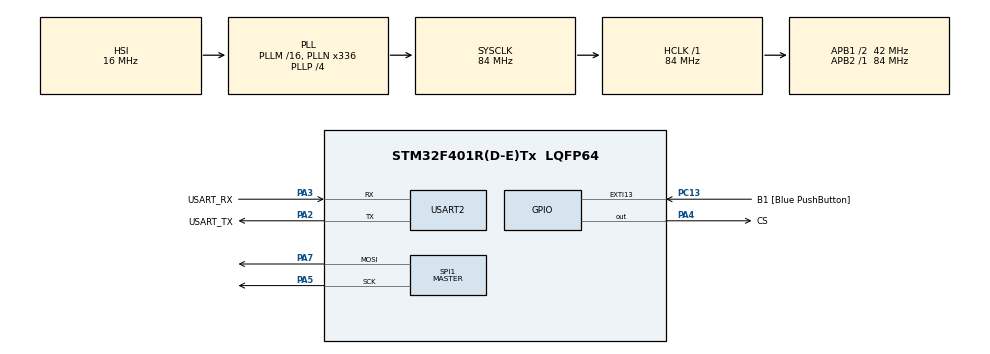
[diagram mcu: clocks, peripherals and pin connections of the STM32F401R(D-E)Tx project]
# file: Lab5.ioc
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Mcu.Family=STM32F4
Mcu.Name=STM32F401R(D-E)Tx
Mcu.Package=LQFP64
NVIC.PriorityGroup=NVIC_PRIORITYGROUP_4
PA13.GPIO_Label=TMS
PA13.Mode=Trace_Asynchronous_SW
PA13.Signal=SYS_JTMS-SWDIO
PA14.GPIO_Label=TCK
PA14.Mode=Trace_Asynchronous_SW
PA14.Signal=SYS_JTCK-SWCLK
PA2.GPIO_Label=USART_TX
PA2.GPIO_Mode=GPIO_MODE_AF_PP
PA2.GPIO_PuPd=GPIO_NOPULL
PA2.GPIO_Speed=GPIO_SPEED_FREQ_LOW
PA2.Mode=Asynchronous
PA2.Signal=USART2_TX
PA3.GPIO_Label=USART_RX
PA3.GPIO_Mode=GPIO_MODE_AF_PP
PA3.GPIO_PuPd=GPIO_NOPULL
PA3.GPIO_Speed=GPIO_SPEED_FREQ_LOW
PA3.Mode=Asynchronous
PA3.Signal=USART2_RX
PA4.GPIO_Label=CS
PA4.Signal=GPIO_Output
PA5.Mode=TX_Only_Simplex_Unidirect_Master
PA5.Signal=SPI1_SCK
PA7.Mode=TX_Only_Simplex_Unidirect_Master
PA7.Signal=SPI1_MOSI
PB3.GPIO_Label=SWO
PB3.Mode=Trace_Asynchronous_SW
PB3.Signal=SYS_JTDO-SWO
PC13-ANTI_TAMP.GPIO_Label=B1 [Blue PushButton]
PC13-ANTI_TAMP.GPIO_ModeDefaultEXTI=GPIO_MODE_IT_FALLING
PC13-ANTI_TAMP.GPIO_PuPd=GPIO_NOPULL
PC13-ANTI_TAMP.Signal=GPXTI13
PC14-OSC32_IN.Mode=LSE-External-Oscillator
PC14-OSC32_IN.Signal=RCC_OSC32_IN
PC15-OSC32_OUT.Mode=LSE-External-Oscillator
PC15-OSC32_OUT.Signal=RCC_OSC32_OUT
PH0\ -\ OSC_IN.Mode=HSE-External-Clock-Source
PH0\ -\ OSC_IN.Signal=RCC_OSC_IN
PH1\ -\ OSC_OUT.Mode=HSE-External-Clock-Source
PH1\ -\ OSC_OUT.Signal=RCC_OSC_OUT
ProjectManager.HeapSize=0x200
ProjectManager.StackSize=0x400
ProjectManager.TargetToolchain=STM32CubeIDE
RCC.48MHZClocksFreq_Value=48000000
RCC.AHBFreq_Value=84000000
RCC.APB1CLKDivider=RCC_HCLK_DIV2
RCC.APB1Freq_Value=42000000
RCC.APB1TimFreq_Value=84000000
RCC.APB2Freq_Value=84000000
RCC.APB2TimFreq_Value=84000000
RCC.CortexFreq_Value=84000000
RCC.HCLKFreq_Value=84000000
RCC.HSE_VALUE=8000000
RCC.HSI_VALUE=16000000
RCC.PLLN=336
RCC.PLLP=RCC_PLLP_DIV4
RCC.PLLQ=7
RCC.SYSCLKFreq_VALUE=84000000
RCC.SYSCLKSource=RCC_SYSCLKSOURCE_PLLCLK
RCC.VCOOutputFreq_Value=336000000
SPI1.CLKPolarity=SPI_POLARITY_HIGH
SPI1.DataSize=SPI_DATASIZE_16BIT
SPI1.Direction=SPI_DIRECTION_2LINES
SPI1.Mode=SPI_MODE_MASTER
SPI1.VirtualType=VM_MASTER
USART2.VirtualMode=VM_ASYNC
board=NUCLEO-F401RE

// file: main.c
/* USER CODE BEGIN Header */
/**
  ******************************************************************************
  * @file           : main.c
  * @brief          : Main program body
  ******************************************************************************
  * @attention
  *
  * Copyright (c) 2026 STMicroelectronics.
  * All rights reserved.
  *
  * This software is licensed under terms that can be found in the LICENSE file
  * in the root directory of this software component.
  * If no LICENSE file comes with this software, it is provided AS-IS.
  *
  ******************************************************************************
  */
/* USER CODE END Header */
#include "main.h"

/* USER CODE BEGIN PD */
#define NUM_DEV 4
uint8_t bufferCol[NUM_DEV*8];
/* USER CODE END PD */

SPI_HandleTypeDef hspi1;

UART_HandleTypeDef huart2;

/* USER CODE BEGIN PV */

const uint8_t charData[][8] = {
  		{0x00, 0x1c, 0x22, 0x22, 0x22, 0x22, 0x1c, 0x00},  // 0
  		{0x08, 0x0c, 0x08, 0x08, 0x08, 0x08, 0x3e, 0x00},  // 1
  		{0x1c, 0x22, 0x20, 0x18, 0x04, 0x02, 0x3e, 0x00},  // 2
  		{0x1c, 0x22, 0x20, 0x1c, 0x20, 0x22, 0x1c, 0x00},  // 3
  		{0x20, 0x30, 0x28, 0x24, 0x7c, 0x20, 0x20, 0x00},  // 4
  		{0x3e, 0x02, 0x1e, 0x20, 0x20, 0x20, 0x1e, 0x00},  // 5
  		{0x18, 0x04, 0x02, 0x1e, 0x22, 0x22, 0x1c, 0x00},  // 6
  		{0x3e, 0x20, 0x10, 0x08, 0x04, 0x04, 0x04, 0x00},  // 7
  		{0x1c, 0x22, 0x22, 0x1c, 0x22, 0x22, 0x1c, 0x00},  // 8
  		{0x1c, 0x22, 0x22, 0x3c, 0x20, 0x10, 0x0c, 0x00},  // 9
  };
void clearDisplay (void)
{
	for (int i=0; i<NUM_DEV*8-1; i++)
	{
		bufferCol[i] = 0;
	}
	flushBuffer();
}

const uint8_t data[] =
{
0x00, 0x22, 0x49, 0x49, 0x49, 0x49, 0x36, 0x00
};
/* U
/* USER CODE END PV */

void SystemClock_Config(void);
static void MX_GPIO_Init(void);
static void MX_USART2_UART_Init(void);
static void MX_SPI1_Init(void);

/* USER CODE BEGIN 0 */
void max7219_cmd (uint8_t Addr, uint8_t data)
{
	uint16_t writeData = (Addr<<8)|data;
	HAL_GPIO_WritePin(CS_GPIO_Port, CS_Pin, 0);  // enable slave
	for (int i=0; i<NUM_DEV; i++)
	{
		HAL_SPI_Transmit(&hspi, (uint8_t *)&writeData, 1, 100);
	}
	HAL_GPIO_WritePin(CS_GPIO_Port, CS_Pin, 1);  // disable slave
}

void max7219_write (uint8_t Addr, uint8_t data)
{
	uint16_t writeData = (Addr<<8)|data;
	HAL_GPIO_WritePin(CS_GPIO_Port, CS_Pin, 0);  // enable slave
	HAL_SPI_Transmit(&hspi, (uint8_t *)&writeData, 1, 100);
	HAL_GPIO_WritePin(CS_GPIO_Port, CS_Pin, 1);  // disable slave
}

void matrixInit (void)
{
	max7219_write(0x09, 0);  // no decoding
	max7219_write(0x0a, 0x01);  // 3/32 intensity
	max7219_write(0x0B, 0x07);  // scan all 7 columns
	max7219_write(0x0C, 0x01);  // normal operation
	max7219_write(0x0F, 0);     // No display test
}

void matrixData(int num)
{
	for (int i=1; i<=8; i++)
	{
		max7219_write(i, charData[num][8-i]);
	}

}

void max_write (int row, uint8_t data)
{
	int devTarget = (row - 1) / 8;  // find out which is the actual max, where we need to write the data
	int offset = devTarget * 8;  // The offset of the start byte for the devTarget in the buffer
	uint16_t writeData = 0;

	HAL_GPIO_WritePin(CS_GPIO_Port, CS_Pin, 0);  // Select the slave
			for (int dev = 0; dev < NUM_DEV; dev++)   // for loop for all the max connected
			{
				if (dev == devTarget)  // if this the target
				{
					writeData = ((row - offset)<<8)|data;  // send the column number and the data byte
					HAL_SPI_Transmit(&hspi, (uint8_t *)&writeData, 1, 1000);
				}
				else
				{
					writeData = 0;  // else send NOOP
					HAL_SPI_Transmit(&hspi, (uint8_t *)&writeData, 1, 1000);
				}
			}
			HAL_GPIO_WritePin(CS_GPIO_Port, CS_Pin, 1);  // disable the slave

}

void flushBuffer (void)
{
	uint8_t bufferRow[NUM_DEV*8] = {0};  // buffer to store data column wise

	/* Convert Cols to Rows */
	for (int i=0; i<NUM_DEV*8; i++)  // for loop for all the bytes
	{
		int dev = i/8;  // 0,1,2,3..  // keep track of which max is being written
		for (int j=0; j<8; j++)  // for loop to extract bits
		{
			if ((bufferCol[i])&(1<<(j)))  // if the bit is 1 // start extracting from the 0th bit of C0
			{
				bufferRow[j+(8*dev)] |= (1<<(7-(i-(8*dev))));  // start writing it from the 7th bit of R0
			}
		}
	}

	for (int row=1; row<=(NUM_DEV*8); row++)  // write the column data into the columns
	{
		max_write(row, bufferRow[row-1]);
	}
}

/* USER CODE END 0 */

int main(void)
{

  /* MCU Configuration--------------------------------------------------------*/

  /* Reset of all peripherals, Initializes the Flash interface and the Systick. */
  HAL_Init();

  /* Configure the system clock */
  SystemClock_Config();

  /* Initialize all configured peripherals */
  MX_GPIO_Init();
  MX_USART2_UART_Init();
  MX_SPI1_Init();
  /* USER CODE BEGIN 2 */
  matrixInit();
    clearDisplay();
    int indx=0;
    for (int i=5; i<13; i++)
    {
      bufferCol[i] = data[7-indx];
      indx++;
    }
    flushBuffer();
  /* USER CODE END 2 */

  /* Infinite loop */
  while (1)
  {

  }
}

void SystemClock_Config(void)
{
  RCC_OscInitTypeDef RCC_OscInitStruct = {0};
  RCC_ClkInitTypeDef RCC_ClkInitStruct = {0};

  /** Configure the main internal regulator output voltage
  */
  __HAL_RCC_PWR_CLK_ENABLE();
  __HAL_PWR_VOLTAGESCALING_CONFIG(PWR_REGULATOR_VOLTAGE_SCALE2);

  /** Initializes the RCC Oscillators according to the specified parameters
  * in the RCC_OscInitTypeDef structure.
  */
  RCC_OscInitStruct.OscillatorType = RCC_OSCILLATORTYPE_HSI;
  RCC_OscInitStruct.HSIState = RCC_HSI_ON;
  RCC_OscInitStruct.HSICalibrationValue = RCC_HSICALIBRATION_DEFAULT;
  RCC_OscInitStruct.PLL.PLLState = RCC_PLL_ON;
  RCC_OscInitStruct.PLL.PLLSource = RCC_PLLSOURCE_HSI;
  RCC_OscInitStruct.PLL.PLLM = 16;
  RCC_OscInitStruct.PLL.PLLN = 336;
  RCC_OscInitStruct.PLL.PLLP = RCC_PLLP_DIV4;
  RCC_OscInitStruct.PLL.PLLQ = 7;
  if (HAL_RCC_OscConfig(&RCC_OscInitStruct) != HAL_OK)
  {
    Error_Handler();
  }

  /** Initializes the CPU, AHB and APB buses clocks
  */
  RCC_ClkInitStruct.ClockType = RCC_CLOCKTYPE_HCLK|RCC_CLOCKTYPE_SYSCLK
                              |RCC_CLOCKTYPE_PCLK1|RCC_CLOCKTYPE_PCLK2;
  RCC_ClkInitStruct.SYSCLKSource = RCC_SYSCLKSOURCE_PLLCLK;
  RCC_ClkInitStruct.AHBCLKDivider = RCC_SYSCLK_DIV1;
  RCC_ClkInitStruct.APB1CLKDivider = RCC_HCLK_DIV2;
  RCC_ClkInitStruct.APB2CLKDivider = RCC_HCLK_DIV1;

  if (HAL_RCC_ClockConfig(&RCC_ClkInitStruct, FLASH_LATENCY_2) != HAL_OK)
  {
    Error_Handler();
  }
}

static void MX_SPI1_Init(void)
{

  /* SPI1 parameter configuration*/
  hspi1.Instance = SPI1;
  hspi1.Init.Mode = SPI_MODE_MASTER;
  hspi1.Init.Direction = SPI_DIRECTION_2LINES;
  hspi1.Init.DataSize = SPI_DATASIZE_16BIT;
  hspi1.Init.CLKPolarity = SPI_POLARITY_HIGH;
  hspi1.Init.CLKPhase = SPI_PHASE_1EDGE;
  hspi1.Init.NSS = SPI_NSS_SOFT;
  hspi1.Init.BaudRatePrescaler = SPI_BAUDRATEPRESCALER_2;
  hspi1.Init.FirstBit = SPI_FIRSTBIT_MSB;
  hspi1.Init.TIMode = SPI_TIMODE_DISABLE;
  hspi1.Init.CRCCalculation = SPI_CRCCALCULATION_DISABLE;
  hspi1.Init.CRCPolynomial = 10;
  if (HAL_SPI_Init(&hspi1) != HAL_OK)
  {
    Error_Handler();
  }

}

static void MX_USART2_UART_Init(void)
{

  huart2.Instance = USART2;
  huart2.Init.BaudRate = 115200;
  huart2.Init.WordLength = UART_WORDLENGTH_8B;
  huart2.Init.StopBits = UART_STOPBITS_1;
  huart2.Init.Parity = UART_PARITY_NONE;
  huart2.Init.Mode = UART_MODE_TX_RX;
  huart2.Init.HwFlowCtl = UART_HWCONTROL_NONE;
  huart2.Init.OverSampling = UART_OVERSAMPLING_16;
  if (HAL_UART_Init(&huart2) != HAL_OK)
  {
    Error_Handler();
  }

}

static void MX_GPIO_Init(void)
{
  GPIO_InitTypeDef GPIO_InitStruct = {0};

  /* GPIO Ports Clock Enable */
  __HAL_RCC_GPIOC_CLK_ENABLE();
  __HAL_RCC_GPIOH_CLK_ENABLE();
  __HAL_RCC_GPIOA_CLK_ENABLE();
  __HAL_RCC_GPIOB_CLK_ENABLE();

  /*Configure GPIO pin Output Level */
  HAL_GPIO_WritePin(CS_GPIO_Port, CS_Pin, GPIO_PIN_RESET);

  /*Configure GPIO pin : B1_Pin */
  GPIO_InitStruct.Pin = B1_Pin;
  GPIO_InitStruct.Mode = GPIO_MODE_IT_FALLING;
  GPIO_InitStruct.Pull = GPIO_NOPULL;
  HAL_GPIO_Init(B1_GPIO_Port, &GPIO_InitStruct);

  /*Configure GPIO pin : CS_Pin */
  GPIO_InitStruct.Pin = CS_Pin;
  GPIO_InitStruct.Mode = GPIO_MODE_OUTPUT_PP;
  GPIO_InitStruct.Pull = GPIO_NOPULL;
  GPIO_InitStruct.Speed = GPIO_SPEED_FREQ_LOW;
  HAL_GPIO_Init(CS_GPIO_Port, &GPIO_InitStruct);

}

void Error_Handler(void)
{
  __disable_irq();
  while (1)
  {
  }
}
